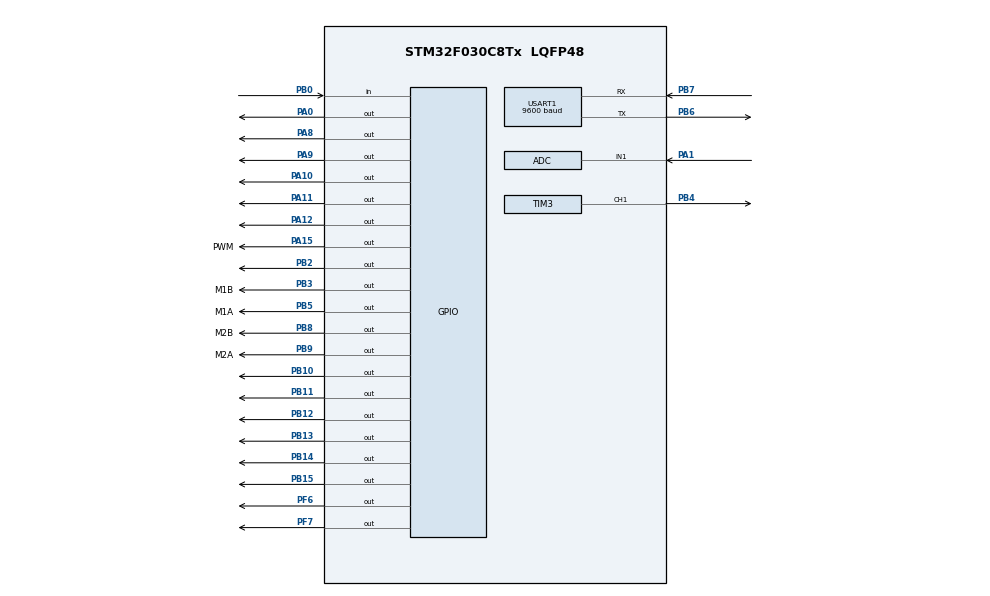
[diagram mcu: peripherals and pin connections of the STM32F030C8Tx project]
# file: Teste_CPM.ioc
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ADC.ContinuousConvMode=ENABLE
ADC.Overrun=ADC_OVR_DATA_PRESERVED
Mcu.Family=STM32F0
Mcu.Name=STM32F030C8Tx
Mcu.Package=LQFP48
NVIC.TIM3_IRQn=true\:0\:0\:false\:false\:true\:true\:true
NVIC.USART1_IRQn=true\:0\:0\:false\:false\:true\:true\:true
PA0.Signal=GPIO_Output
PA1.Mode=IN1
PA1.Signal=ADC_IN1
PA10.Signal=GPIO_Output
PA11.Signal=GPIO_Output
PA12.Signal=GPIO_Output
PA13.Mode=Serial_Wire
PA13.Signal=SYS_SWDIO
PA14.Mode=Serial_Wire
PA14.Signal=SYS_SWCLK
PA15.GPIO_Label=PWM
PA15.Signal=GPIO_Output
PA2.Signal=USART2_TX
PA3.Signal=USART2_RX
PA8.Signal=GPIO_Output
PA9.Signal=GPIO_Output
PB0.Signal=GPIO_Input
PB10.Signal=GPIO_Output
PB11.Signal=GPIO_Output
PB12.Signal=GPIO_Output
PB13.Signal=GPIO_Output
PB14.Signal=GPIO_Output
PB15.Signal=GPIO_Output
PB2.Signal=GPIO_Output
PB3.GPIO_Label=M1B
PB3.Signal=GPIO_Output
PB4.Signal=S_TIM3_CH1
PB5.GPIO_Label=M1A
PB5.Signal=GPIO_Output
PB6.Mode=Asynchronous
PB6.Signal=USART1_TX
PB7.Mode=Asynchronous
PB7.Signal=USART1_RX
PB8.GPIO_Label=M2B
PB8.Signal=GPIO_Output
PB9.GPIO_Label=M2A
PB9.Signal=GPIO_Output
PC13.Mode=SYS_WakeUp1
PC13.Signal=SYS_WKUP2
PF6.Signal=GPIO_Output
PF7.Signal=GPIO_Output
ProjectManager.HeapSize=0x200
ProjectManager.StackSize=0x400
ProjectManager.TargetToolchain=STM32CubeIDE
SH.S_TIM3_CH1.0=TIM3_CH1,Output Compare1 CH1
TIM3.AutoReloadPreload=TIM_AUTORELOAD_PRELOAD_DISABLE
TIM3.Channel-Output\ Compare1\ CH1=TIM_CHANNEL_1
TIM3.ClockDivision=TIM_CLOCKDIVISION_DIV1
TIM3.OCMode_1=TIM_OCMODE_TIMING
TIM3.OCPolarity_1=TIM_OCPOLARITY_HIGH
TIM3.Period=1
TIM3.Prescaler=8000
USART1.BaudRate=9600
USART1.VirtualMode-Asynchronous=VM_ASYNC
VP_TIM1_VS_ClockSourceINT.Mode=Internal
VP_TIM3_VS_ClockSourceINT.Mode=Internal
board=custom

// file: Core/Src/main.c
/* USER CODE BEGIN Header */
/**
  ******************************************************************************
  * @file           : main.c
  * @brief          : Main program body
  ******************************************************************************
  * @attention
  *
  * <h2><center>&copy; Copyright (c) 2021 STMicroelectronics.
  * All rights reserved.</center></h2>
  *
  * This software component is licensed by ST under BSD 3-Clause license,
  * the "License"; You may not use this file except in compliance with the
  * License. You may obtain a copy of the License at:
  *                        opensource.org/licenses/BSD-3-Clause
  *
  ******************************************************************************
  */
/* USER CODE END Header */
#include "main.h"

/* USER CODE BEGIN Includes */
#include <stdlib.h>
/* USER CODE END Includes */

ADC_HandleTypeDef hadc;

TIM_HandleTypeDef htim1;
TIM_HandleTypeDef htim3;

UART_HandleTypeDef huart1;

/* USER CODE BEGIN PV */
uint16_t int_flag = 0;
uint16_t prescal = 8000;
uint8_t UART_buffer[1];
uint16_t UART_STRING[12];
uint16_t UART_Counter = 0;
/* USER CODE END PV */

void SystemClock_Config(void);
static void MX_GPIO_Init(void);
static void MX_TIM1_Init(void);
static void MX_TIM3_Init(void);
static void MX_ADC_Init(void);
static void MX_USART1_UART_Init(void);
/* USER CODE BEGIN PFP */
void Passo1(void);
void Passo2(void);
void Passo3(void);
void Passo4(void);
void motor_direita(uint16_t passo);
void motor_esquerda(uint16_t passo);
void mudar_velocidade_motor(void);
void uart_send_variable(uint16_t value);
void MENU(void);	// <--Implementar menu para alterar angulos minimo, maximo e a velocidade.
/* USER CODE END PFP */

int main(void)
{
  /* USER CODE BEGIN 1 */
	uint16_t adc_angulo;
	uint16_t min_ang = 200;
	uint16_t max_ang = 3600;
  /* USER CODE END 1 */

  /* MCU Configuration--------------------------------------------------------*/

  /* Reset of all peripherals, Initializes the Flash interface and the Systick. */
  HAL_Init();

  /* Configure the system clock */
  SystemClock_Config();

  /* Initialize all configured peripherals */
  MX_GPIO_Init();
  MX_TIM1_Init();
  MX_TIM3_Init();
  MX_ADC_Init();
  MX_USART1_UART_Init();
  /* USER CODE BEGIN 2 */
  HAL_GPIO_WritePin(M2A_GPIO_Port, M2A_Pin, GPIO_PIN_RESET);
  HAL_GPIO_WritePin(M2B_GPIO_Port, M2B_Pin, GPIO_PIN_RESET);
  HAL_GPIO_WritePin(M1A_GPIO_Port, M1A_Pin, GPIO_PIN_RESET);
  HAL_GPIO_WritePin(M1B_GPIO_Port, M1B_Pin, GPIO_PIN_RESET);
  HAL_GPIO_WritePin(PWM_GPIO_Port, PWM_Pin, GPIO_PIN_SET);
  NVIC_SetPriority(USART1_IRQn, 1);// prioridade maior
  HAL_ADC_Start(&hadc);
  HAL_UART_Transmit(&huart1, (uint8_t *)"ADC STARTED\r\n", sizeof("ADC STARTED\r\n"), 100);
  HAL_TIM_Base_Start_IT(&htim3);
  NVIC_SetPriority(TIM3_IRQn, 3); //prioridade menor
  HAL_UART_Transmit(&huart1, (uint8_t *)"Timer STARTED\r\n", sizeof("Timer STARTED\r\n"), 100);
  HAL_UART_Receive_IT(&huart1, UART_buffer, 1);
  HAL_UART_Transmit(&huart1, (uint8_t *)"UART receive interrupt STARTED\r\n", sizeof("UART receive interrupt STARTED\r\n"), 100);
  HAL_UART_Transmit(&huart1, (uint8_t *)"speed: ", sizeof("speed: "), 100);
  uart_send_variable((int)prescal);
  HAL_UART_Transmit(&huart1, (uint8_t *)"\r\n", sizeof("\r\n"), 100);
  /* USER CODE END 2 */

  /* Infinite loop */
  /* USER CODE BEGIN WHILE */

  // lê o adc
  adc_angulo = HAL_ADC_GetValue(&hadc);

  //se desloca para a posição de angulo minimo
  if (adc_angulo >= min_ang){
	do{
		motor_esquerda(int_flag);
		adc_angulo = HAL_ADC_GetValue(&hadc);
	}while(adc_angulo >= min_ang);
  }
  while (1)
  {
	//se desloca do angulo minimo para o angulo maximo
	if (adc_angulo <= min_ang){
	  do{
		  motor_direita(int_flag);
		  adc_angulo = HAL_ADC_GetValue(&hadc);
	  }while(adc_angulo <= max_ang);
	}
	//se desloca do angulo minimo para o angulo maximo
	else if(adc_angulo >= max_ang){
	  do{
		  motor_esquerda(int_flag);
		  adc_angulo = HAL_ADC_GetValue(&hadc);
	  }while(adc_angulo >= min_ang);
	}

    /* USER CODE END WHILE */

    /* USER CODE BEGIN 3 */
  }
  HAL_ADC_Stop(&hadc);
  HAL_TIM_Base_Stop_IT(&htim3);

  /* USER CODE END 3 */
}

void SystemClock_Config(void)
{
  RCC_OscInitTypeDef RCC_OscInitStruct = {0};
  RCC_ClkInitTypeDef RCC_ClkInitStruct = {0};
  RCC_PeriphCLKInitTypeDef PeriphClkInit = {0};

  /** Initializes the RCC Oscillators according to the specified parameters
  * in the RCC_OscInitTypeDef structure.
  */
  RCC_OscInitStruct.OscillatorType = RCC_OSCILLATORTYPE_HSI|RCC_OSCILLATORTYPE_HSI14;
  RCC_OscInitStruct.HSIState = RCC_HSI_ON;
  RCC_OscInitStruct.HSI14State = RCC_HSI14_ON;
  RCC_OscInitStruct.HSICalibrationValue = RCC_HSICALIBRATION_DEFAULT;
  RCC_OscInitStruct.HSI14CalibrationValue = 16;
  RCC_OscInitStruct.PLL.PLLState = RCC_PLL_NONE;
  if (HAL_RCC_OscConfig(&RCC_OscInitStruct) != HAL_OK)
  {
    Error_Handler();
  }
  /** Initializes the CPU, AHB and APB buses clocks
  */
  RCC_ClkInitStruct.ClockType = RCC_CLOCKTYPE_HCLK|RCC_CLOCKTYPE_SYSCLK
                              |RCC_CLOCKTYPE_PCLK1;
  RCC_ClkInitStruct.SYSCLKSource = RCC_SYSCLKSOURCE_HSI;
  RCC_ClkInitStruct.AHBCLKDivider = RCC_SYSCLK_DIV1;
  RCC_ClkInitStruct.APB1CLKDivider = RCC_HCLK_DIV1;

  if (HAL_RCC_ClockConfig(&RCC_ClkInitStruct, FLASH_LATENCY_0) != HAL_OK)
  {
    Error_Handler();
  }
  PeriphClkInit.PeriphClockSelection = RCC_PERIPHCLK_USART1;
  PeriphClkInit.Usart1ClockSelection = RCC_USART1CLKSOURCE_PCLK1;
  if (HAL_RCCEx_PeriphCLKConfig(&PeriphClkInit) != HAL_OK)
  {
    Error_Handler();
  }
}

static void MX_ADC_Init(void)
{

  ADC_ChannelConfTypeDef sConfig = {0};

  /** Configure the global features of the ADC (Clock, Resolution, Data Alignment and number of conversion)
  */
  hadc.Instance = ADC1;
  hadc.Init.ClockPrescaler = ADC_CLOCK_ASYNC_DIV1;
  hadc.Init.Resolution = ADC_RESOLUTION_12B;
  hadc.Init.DataAlign = ADC_DATAALIGN_RIGHT;
  hadc.Init.ScanConvMode = ADC_SCAN_DIRECTION_FORWARD;
  hadc.Init.EOCSelection = ADC_EOC_SINGLE_CONV;
  hadc.Init.LowPowerAutoWait = DISABLE;
  hadc.Init.LowPowerAutoPowerOff = DISABLE;
  hadc.Init.ContinuousConvMode = ENABLE;
  hadc.Init.DiscontinuousConvMode = DISABLE;
  hadc.Init.ExternalTrigConv = ADC_SOFTWARE_START;
  hadc.Init.ExternalTrigConvEdge = ADC_EXTERNALTRIGCONVEDGE_NONE;
  hadc.Init.DMAContinuousRequests = DISABLE;
  hadc.Init.Overrun = ADC_OVR_DATA_PRESERVED;
  if (HAL_ADC_Init(&hadc) != HAL_OK)
  {
    Error_Handler();
  }
  /** Configure for the selected ADC regular channel to be converted.
  */
  sConfig.Channel = ADC_CHANNEL_1;
  sConfig.Rank = ADC_RANK_CHANNEL_NUMBER;
  sConfig.SamplingTime = ADC_SAMPLETIME_1CYCLE_5;
  if (HAL_ADC_ConfigChannel(&hadc, &sConfig) != HAL_OK)
  {
    Error_Handler();
  }

}

static void MX_TIM1_Init(void)
{

  TIM_ClockConfigTypeDef sClockSourceConfig = {0};
  TIM_MasterConfigTypeDef sMasterConfig = {0};

  htim1.Instance = TIM1;
  htim1.Init.Prescaler = 0;
  htim1.Init.CounterMode = TIM_COUNTERMODE_UP;
  htim1.Init.Period = 65535;
  htim1.Init.ClockDivision = TIM_CLOCKDIVISION_DIV1;
  htim1.Init.RepetitionCounter = 0;
  htim1.Init.AutoReloadPreload = TIM_AUTORELOAD_PRELOAD_DISABLE;
  if (HAL_TIM_Base_Init(&htim1) != HAL_OK)
  {
    Error_Handler();
  }
  sClockSourceConfig.ClockSource = TIM_CLOCKSOURCE_INTERNAL;
  if (HAL_TIM_ConfigClockSource(&htim1, &sClockSourceConfig) != HAL_OK)
  {
    Error_Handler();
  }
  sMasterConfig.MasterOutputTrigger = TIM_TRGO_RESET;
  sMasterConfig.MasterSlaveMode = TIM_MASTERSLAVEMODE_DISABLE;
  if (HAL_TIMEx_MasterConfigSynchronization(&htim1, &sMasterConfig) != HAL_OK)
  {
    Error_Handler();
  }

}

static void MX_TIM3_Init(void)
{

  TIM_ClockConfigTypeDef sClockSourceConfig = {0};
  TIM_MasterConfigTypeDef sMasterConfig = {0};
  TIM_OC_InitTypeDef sConfigOC = {0};

  htim3.Instance = TIM3;
  htim3.Init.Prescaler = 8000;
  htim3.Init.CounterMode = TIM_COUNTERMODE_UP;
  htim3.Init.Period = 1;
  htim3.Init.ClockDivision = TIM_CLOCKDIVISION_DIV1;
  htim3.Init.AutoReloadPreload = TIM_AUTORELOAD_PRELOAD_DISABLE;
  if (HAL_TIM_Base_Init(&htim3) != HAL_OK)
  {
    Error_Handler();
  }
  sClockSourceConfig.ClockSource = TIM_CLOCKSOURCE_INTERNAL;
  if (HAL_TIM_ConfigClockSource(&htim3, &sClockSourceConfig) != HAL_OK)
  {
    Error_Handler();
  }
  if (HAL_TIM_OC_Init(&htim3) != HAL_OK)
  {
    Error_Handler();
  }
  sMasterConfig.MasterOutputTrigger = TIM_TRGO_RESET;
  sMasterConfig.MasterSlaveMode = TIM_MASTERSLAVEMODE_DISABLE;
  if (HAL_TIMEx_MasterConfigSynchronization(&htim3, &sMasterConfig) != HAL_OK)
  {
    Error_Handler();
  }
  sConfigOC.OCMode = TIM_OCMODE_TIMING;
  sConfigOC.Pulse = 0;
  sConfigOC.OCPolarity = TIM_OCPOLARITY_HIGH;
  sConfigOC.OCFastMode = TIM_OCFAST_DISABLE;
  if (HAL_TIM_OC_ConfigChannel(&htim3, &sConfigOC, TIM_CHANNEL_1) != HAL_OK)
  {
    Error_Handler();
  }
  HAL_TIM_MspPostInit(&htim3);

}

static void MX_USART1_UART_Init(void)
{

  huart1.Instance = USART1;
  huart1.Init.BaudRate = 9600;
  huart1.Init.WordLength = UART_WORDLENGTH_8B;
  huart1.Init.StopBits = UART_STOPBITS_1;
  huart1.Init.Parity = UART_PARITY_NONE;
  huart1.Init.Mode = UART_MODE_TX_RX;
  huart1.Init.HwFlowCtl = UART_HWCONTROL_NONE;
  huart1.Init.OverSampling = UART_OVERSAMPLING_16;
  huart1.Init.OneBitSampling = UART_ONE_BIT_SAMPLE_DISABLE;
  huart1.AdvancedInit.AdvFeatureInit = UART_ADVFEATURE_NO_INIT;
  if (HAL_UART_Init(&huart1) != HAL_OK)
  {
    Error_Handler();
  }

}

static void MX_GPIO_Init(void)
{
  GPIO_InitTypeDef GPIO_InitStruct = {0};

  /* GPIO Ports Clock Enable */
  __HAL_RCC_GPIOC_CLK_ENABLE();
  __HAL_RCC_GPIOA_CLK_ENABLE();
  __HAL_RCC_GPIOB_CLK_ENABLE();
  __HAL_RCC_GPIOF_CLK_ENABLE();

  /*Configure GPIO pin Output Level */
  HAL_GPIO_WritePin(GPIOA, GPIO_PIN_0|GPIO_PIN_8|GPIO_PIN_9|GPIO_PIN_10
                          |GPIO_PIN_11|GPIO_PIN_12|PWM_Pin, GPIO_PIN_RESET);

  /*Configure GPIO pin Output Level */
  HAL_GPIO_WritePin(GPIOB, GPIO_PIN_2|GPIO_PIN_10|GPIO_PIN_11|GPIO_PIN_12
                          |GPIO_PIN_13|GPIO_PIN_14|GPIO_PIN_15|M1B_Pin
                          |M1A_Pin|M2B_Pin|M2A_Pin, GPIO_PIN_RESET);

  /*Configure GPIO pin Output Level */
  HAL_GPIO_WritePin(GPIOF, GPIO_PIN_6|GPIO_PIN_7, GPIO_PIN_RESET);

  /*Configure GPIO pins : PA0 PA8 PA9 PA10
                           PA11 PA12 PWM_Pin */
  GPIO_InitStruct.Pin = GPIO_PIN_0|GPIO_PIN_8|GPIO_PIN_9|GPIO_PIN_10
                          |GPIO_PIN_11|GPIO_PIN_12|PWM_Pin;
  GPIO_InitStruct.Mode = GPIO_MODE_OUTPUT_PP;
  GPIO_InitStruct.Pull = GPIO_NOPULL;
  GPIO_InitStruct.Speed = GPIO_SPEED_FREQ_LOW;
  HAL_GPIO_Init(GPIOA, &GPIO_InitStruct);

  /*Configure GPIO pins : PA2 PA3 */
  GPIO_InitStruct.Pin = GPIO_PIN_2|GPIO_PIN_3;
  GPIO_InitStruct.Mode = GPIO_MODE_AF_PP;
  GPIO_InitStruct.Pull = GPIO_NOPULL;
  GPIO_InitStruct.Speed = GPIO_SPEED_FREQ_HIGH;
  GPIO_InitStruct.Alternate = GPIO_AF1_USART2;
  HAL_GPIO_Init(GPIOA, &GPIO_InitStruct);

  /*Configure GPIO pin : PB0 */
  GPIO_InitStruct.Pin = GPIO_PIN_0;
  GPIO_InitStruct.Mode = GPIO_MODE_INPUT;
  GPIO_InitStruct.Pull = GPIO_NOPULL;
  HAL_GPIO_Init(GPIOB, &GPIO_InitStruct);

  /*Configure GPIO pins : PB2 PB10 PB11 PB12
                           PB13 PB14 PB15 M1B_Pin
                           M1A_Pin M2B_Pin M2A_Pin */
  GPIO_InitStruct.Pin = GPIO_PIN_2|GPIO_PIN_10|GPIO_PIN_11|GPIO_PIN_12
                          |GPIO_PIN_13|GPIO_PIN_14|GPIO_PIN_15|M1B_Pin
                          |M1A_Pin|M2B_Pin|M2A_Pin;
  GPIO_InitStruct.Mode = GPIO_MODE_OUTPUT_PP;
  GPIO_InitStruct.Pull = GPIO_NOPULL;
  GPIO_InitStruct.Speed = GPIO_SPEED_FREQ_LOW;
  HAL_GPIO_Init(GPIOB, &GPIO_InitStruct);

  /*Configure GPIO pins : PF6 PF7 */
  GPIO_InitStruct.Pin = GPIO_PIN_6|GPIO_PIN_7;
  GPIO_InitStruct.Mode = GPIO_MODE_OUTPUT_PP;
  GPIO_InitStruct.Pull = GPIO_NOPULL;
  GPIO_InitStruct.Speed = GPIO_SPEED_FREQ_LOW;
  HAL_GPIO_Init(GPIOF, &GPIO_InitStruct);

}

/* USER CODE BEGIN 4 */
void Passo1(void){
	HAL_GPIO_WritePin(M2A_GPIO_Port, M2A_Pin, GPIO_PIN_SET);
	HAL_GPIO_WritePin(M2B_GPIO_Port, M2B_Pin, GPIO_PIN_RESET);
	HAL_GPIO_WritePin(M1A_GPIO_Port, M1A_Pin, GPIO_PIN_RESET);
	HAL_GPIO_WritePin(M1B_GPIO_Port, M1B_Pin, GPIO_PIN_SET);
}

void Passo2(void){
	HAL_GPIO_WritePin(M2A_GPIO_Port, M2A_Pin, GPIO_PIN_RESET);
	HAL_GPIO_WritePin(M2B_GPIO_Port, M2B_Pin, GPIO_PIN_SET);
	HAL_GPIO_WritePin(M1A_GPIO_Port, M1A_Pin, GPIO_PIN_RESET);
	HAL_GPIO_WritePin(M1B_GPIO_Port, M1B_Pin, GPIO_PIN_SET);
}

void Passo3(void){
	HAL_GPIO_WritePin(M2A_GPIO_Port, M2A_Pin, GPIO_PIN_RESET);
	HAL_GPIO_WritePin(M2B_GPIO_Port, M2B_Pin, GPIO_PIN_SET);
	HAL_GPIO_WritePin(M1A_GPIO_Port, M1A_Pin, GPIO_PIN_SET);
	HAL_GPIO_WritePin(M1B_GPIO_Port, M1B_Pin, GPIO_PIN_RESET);
}

void Passo4(void){
	HAL_GPIO_WritePin(M2A_GPIO_Port, M2A_Pin, GPIO_PIN_SET);
	HAL_GPIO_WritePin(M2B_GPIO_Port, M2B_Pin, GPIO_PIN_RESET);
	HAL_GPIO_WritePin(M1A_GPIO_Port, M1A_Pin, GPIO_PIN_SET);
	HAL_GPIO_WritePin(M1B_GPIO_Port, M1B_Pin, GPIO_PIN_RESET);
}

//função para fazer o motor ir para a esquerda
void motor_esquerda(uint16_t passo){
	if (passo == 0){
		Passo1();
	}
	else if (passo == 1){
		Passo2();
	}
	else if(passo == 2){
		Passo3();
	}
	else if (passo == 3){
		Passo4();
	}
}

//função para fazer o motor ir para a direita
void motor_direita(uint16_t passo){
	if (passo == 0){
		Passo4();
	}
	else if (passo == 1){
		Passo3();
	}
	else if(passo == 2){
		Passo2();
	}
	else if(passo == 3){
		Passo1();
	}
}

//função para mudar a velocidade do motor
void mudar_velocidade_motor(void){
	int16_t temp = 0;
	uint16_t temp_mult = 1;
	uint32_t UART_Value = 0;
	for (temp = UART_Counter -2; temp >= 0; temp--){
		UART_Value = UART_Value + UART_STRING[temp] * temp_mult;
		temp_mult = temp_mult*10;
	}
	prescal = UART_Value;
	__HAL_TIM_SET_PRESCALER(&htim3,prescal); // ajustar prescaller do timer para alterar a velocidade
	UART_Counter = 0;
	HAL_UART_Transmit(&huart1, (uint8_t *)"speed: ", sizeof("speed: "), 100);
	uart_send_variable((int)prescal);
	HAL_UART_Transmit(&huart1, (uint8_t *)"\r\n", sizeof("\r\n"), 100);
}

//função enviar variavel pela uart
void uart_send_variable(uint16_t value){ //consertar: adicionando digitos incoerentes ao final ex:9500$
	char temp_buffer[12];
	uint16_t i = 0, length = 0;
	itoa(value, temp_buffer, 10);
	//for como alternativa a sizeof(algum problema na contagem com sizeof)
	for (i = 0; temp_buffer[i] != '\0' && temp_buffer[i] != '\n'; i++) {
	    length++;
	  }
	HAL_UART_Transmit(&huart1, (uint8_t *)temp_buffer, length, 100);
}

// timer interrupt = controle da velocidade do motor
void HAL_TIM_PeriodElapsedCallback(TIM_HandleTypeDef* htim)
{
	int_flag++;
	if (int_flag > 3){
		int_flag = 0;
	}
}

// UART receive interrupt
void HAL_UART_RxCpltCallback(UART_HandleTypeDef *huart)
{
	HAL_UART_Transmit(&huart1, UART_buffer, sizeof(UART_buffer), 100);
	UART_STRING[UART_Counter] = atoi((const char *)UART_buffer);
	UART_Counter++;
	if (UART_buffer[0] == '\r'){
		HAL_UART_Transmit(&huart1, (uint8_t *)"\r\n", sizeof("\r\n"), 100);
		mudar_velocidade_motor();

	}
    HAL_UART_Receive_IT(&huart1, UART_buffer, 1);

}
/* USER CODE END 4 */

void Error_Handler(void)
{
  __disable_irq();
  while (1)
  {
  }
}

/************************ (C) COPYRIGHT STMicroelectronics *****END OF FILE****/
